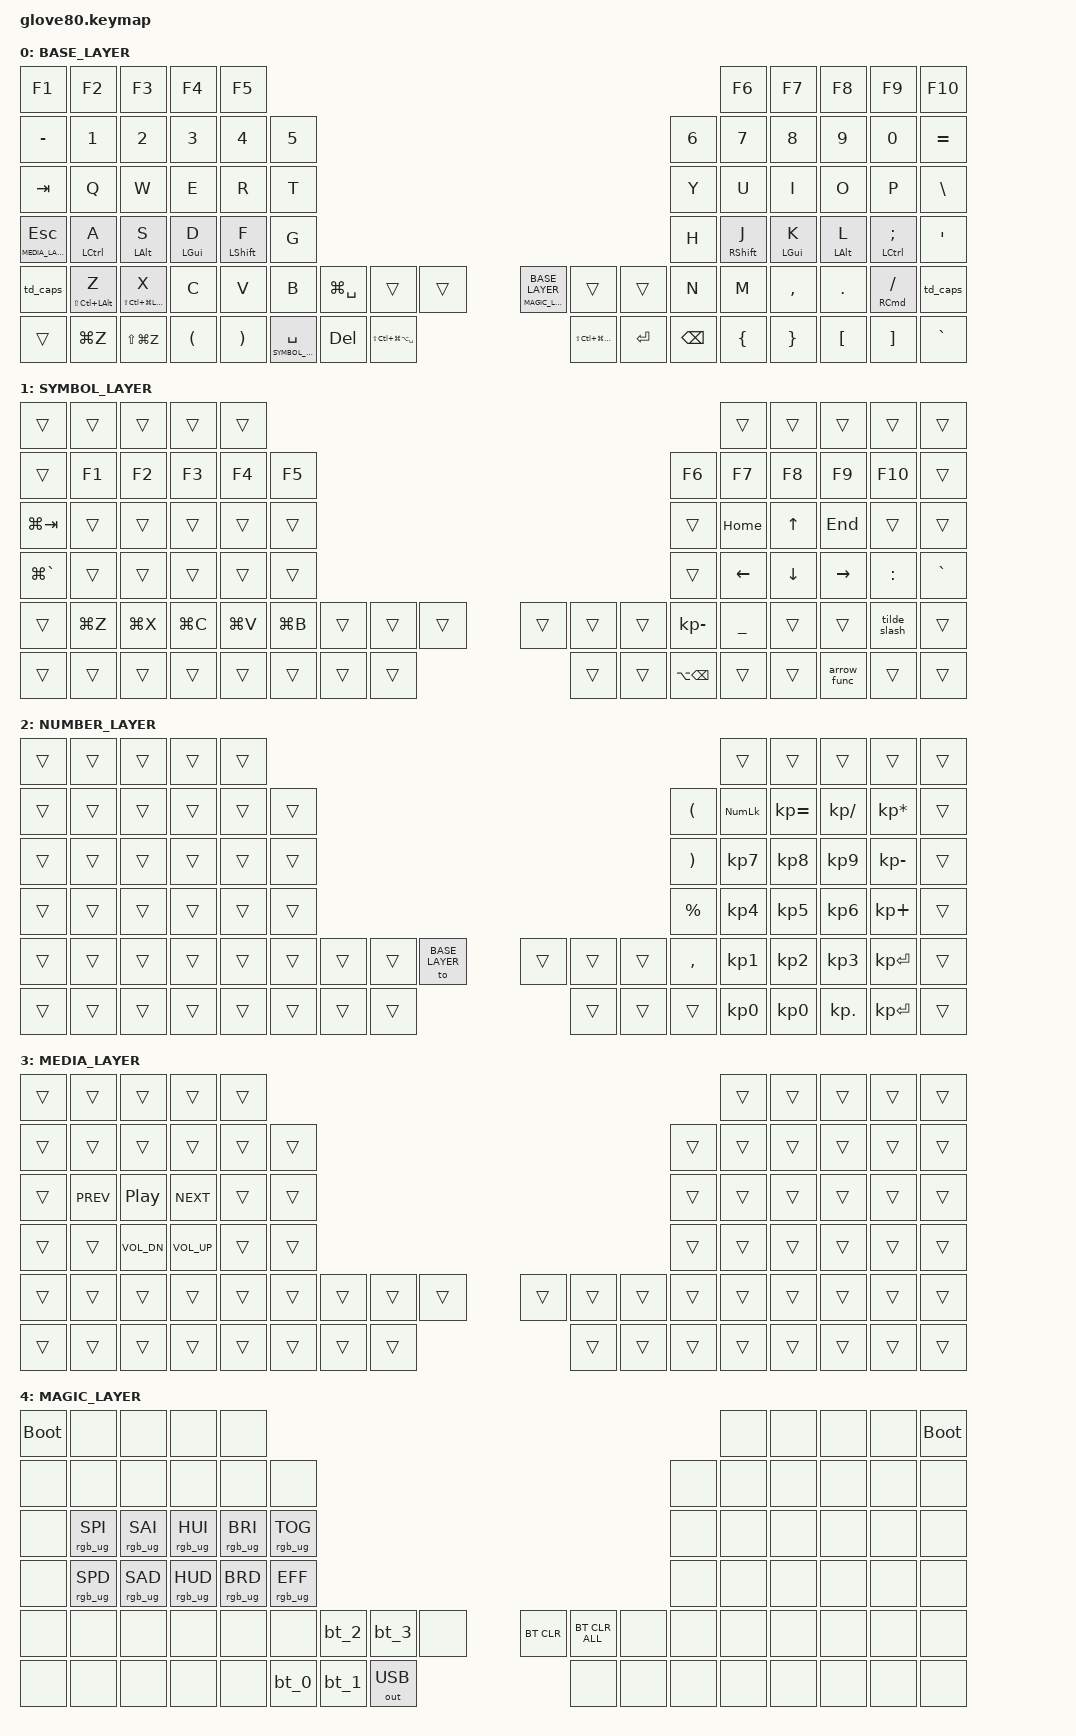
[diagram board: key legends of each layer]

// ZMK includes
#include <behaviors.dtsi>
#include <dt-bindings/zmk/outputs.h>
#include <dt-bindings/zmk/keys.h>
#include <dt-bindings/zmk/bt.h>
#include <dt-bindings/zmk/rgb.h>

// Personal includes
#include "zmk-helpers/helper.h"
#include "zmk-helpers/key-labels/glove80.h"

/* Automatically generated layer name #define */
#define BASE_LAYER 0
#define SYMBOL_LAYER 1
#define NUMBER_LAYER 2
#define MEDIA_LAYER 3
#define MAGIC_LAYER 4

/* To deal with the situation where there is no Lower layer, to keep &lower happy */
#ifndef LAYER_Lower
    #define LAYER_Lower 0
#endif

// HYPER and MEH
#define HYPER LS(LC(LG(LALT)))
#define MEH LS(LC(LALT))

// Homerow Mods
#define KEYS_L LT0 LT1 LT2 LT3 LT4 LM0 LM1 LM2 LM3 LM4 LB0 LB1 LB2 LB3 LB4  // left hand
#define KEYS_R RT0 RT1 RT2 RT3 RT4 RM0 RM1 RM2 RM3 RM4 RB0 RB1 RB2 RB3 RB4  // right hand
#define KEYS_T LH2 LH1 LH0 RH0 RH1 RH2                                      // thumbs

/*
For when you try implementing homerow mods later, dialing in the settings for them is really important. 
I've tried and given up on them before without properly setting the timing and per-key permissive hold options, but this most recent time I've messed with that and now it feels pretty natural. 
If you're accidentally triggering modifiers when typing, you need to lengthen your timing. 
If you're accidentally typing letters when you're trying to trigger commands, or if commands don't feel snappy, try permissive holds/related options on those keys, or shorten your timing, or both. 
They shouldn't affect your normal typing, and doing commands on them should feel relatively snappy once you get used to them.
*/

ZMK_HOLD_TAP(hm_l,
    flavor = "balanced";
    tapping-term-ms = <280>;
    require-prior-idle-ms = <150>;
    hold-trigger-key-positions = <KEYS_R KEYS_T>;
    hold-trigger-on-release;
    bindings = <&kp>, <&kp>;
)

ZMK_HOLD_TAP(hm_r,
    flavor = "balanced";
    tapping-term-ms = <280>;
    require-prior-idle-ms = <150>;
    hold-trigger-key-positions = <KEYS_L KEYS_T>;
    hold-trigger-on-release;
    bindings = <&kp>, <&kp>;
)

&sk {
    quick-release;
};

/* Automatically generated combos definitions */
/ {
    combos {
        compatible = "zmk,combos";
    };
};

/ {
    macros {
        rgb_ug_status_macro: rgb_ug_status_macro {
            compatible = "zmk,behavior-macro";
            label = "RGB_UG_STATUS";
            #binding-cells = <0>;
            bindings = <&rgb_ug RGB_STATUS>;
        };

        tilde_slash: tilde_slash {
            compatible = "zmk,behavior-macro";
            label = "Tilde Slash";
            #binding-cells = <0>;
            bindings = <&kp TILDE &kp SLASH>;
        };

        arrow_func: arrow_func {
            compatible = "zmk,behavior-macro";
            label = "Arrow Function";
            #binding-cells = <0>;
            bindings = <&kp LEFT_PARENTHESIS &kp RIGHT_PARENTHESIS &kp EQUAL &kp LS(PERIOD) &kp LEFT_BRACE &kp RIGHT_BRACE>;
        };
    };
};

/ {
    behaviors {
        // For the "layer" key, it'd nice to be able to use it as either a shift or a toggle.
        // Configure it as a tap dance, so the first tap (or hold) is a &mo and the second tap is a &to
        lower: lower {
            compatible = "zmk,behavior-tap-dance";
            label = "LAYER_TAP_DANCE";
            #binding-cells = <0>;
            tapping-term-ms = <200>;
            bindings = <&mo LAYER_Lower>, <&to LAYER_Lower>;
        };

        hm_l: hm_l {
            compatible = "zmk,behavior-hold-tap";
            #binding-cells = <2>;
            flavor = "balanced";
            tapping-term-ms = <280>;
            require-prior-idle-ms = <150>;
            hold-trigger-key-positions = <KEYS_R KEYS_T>;
            hold-trigger-on-release;
            bindings = <&kp>, <&kp>;
        };

        hm_r: hm_r {
            compatible = "zmk,behavior-hold-tap";
            #binding-cells = <2>;
            flavor = "balanced";
            tapping-term-ms = <280>;
            require-prior-idle-ms = <150>;
            hold-trigger-key-positions = <KEYS_L KEYS_T>;
            hold-trigger-on-release;
            bindings = <&kp>, <&kp>;
        };

        magic: magic {
            compatible = "zmk,behavior-hold-tap";
            label = "MAGIC_HOLD_TAP";
            #binding-cells = <2>;
            flavor = "tap-preferred";
            tapping-term-ms = <200>;
            bindings = <&mo>, <&rgb_ug_status_macro>;
        };

        td_caps: td_caps {
            compatible = "zmk,behavior-tap-dance";
            #binding-cells = <0>;
            tapping-term-ms = <300>;
            bindings = <&sk RSHIFT>, <&caps_word>, <&kp CAPS>;
        };

        td_left_braces: td_left_braces {
            compatible = "zmk,behavior-tap-dance";
            #binding-cells = <0>;
            tapping-term-ms = <300>;
            bindings = <&kp LPAR>, <&kp LBRC>, <&kp LBKT>;
        };

        td_right_braces: td_right_braces {
            compatible = "zmk,behavior-tap-dance";
            #binding-cells = <0>;
            tapping-term-ms = <300>;
            bindings = <&kp RPAR>, <&kp RBRC>, <&kp RBKT>;
        };
    };
};

/ {
#ifdef BT_DISC_CMD
    behaviors {
        bt_0: bt_0 {
            compatible = "zmk,behavior-tap-dance";
            label = "BT_0";
            #binding-cells = <0>;
            tapping-term-ms = <200>;
            bindings = <&bt_select_0>, <&bt BT_DISC 0>;
        };
        bt_1: bt_1 {
            compatible = "zmk,behavior-tap-dance";
            label = "BT_1";
            #binding-cells = <0>;
            tapping-term-ms = <200>;
            bindings = <&bt_select_1>, <&bt BT_DISC 1>;
        };
        bt_2: bt_2 {
            compatible = "zmk,behavior-tap-dance";
            label = "BT_2";
            #binding-cells = <0>;
            tapping-term-ms = <200>;
            bindings = <&bt_select_2>, <&bt BT_DISC 2>;
        };
        bt_3: bt_3 {
            compatible = "zmk,behavior-tap-dance";
            label = "BT_3";
            #binding-cells = <0>;
            tapping-term-ms = <200>;
            bindings = <&bt_select_3>, <&bt BT_DISC 3>;
        };
    };

    macros {
        bt_select_0: bt_select_0 {
            label = "BT_SELECT_0";
            compatible = "zmk,behavior-macro";
            #binding-cells = <0>;
            bindings = <&out OUT_BLE>, <&bt BT_SEL 0>;
        };
        bt_select_1: bt_select_1 {
            label = "BT_SELECT_1";
            compatible = "zmk,behavior-macro";
            #binding-cells = <0>;
            bindings = <&out OUT_BLE>, <&bt BT_SEL 1>;
        };
        bt_select_2: bt_select_2 {
            label = "BT_SELECT_2";
            compatible = "zmk,behavior-macro";
            #binding-cells = <0>;
            bindings = <&out OUT_BLE>, <&bt BT_SEL 2>;
        };
        bt_select_3: bt_select_3 {
            label = "BT_SELECT_3";
            compatible = "zmk,behavior-macro";
            #binding-cells = <0>;
            bindings = <&out OUT_BLE>, <&bt BT_SEL 3>;
        };
    };
    #else
    macros {
        bt_0: bt_0 {
            label = "BT_0";
            compatible = "zmk,behavior-macro";
            #binding-cells = <0>;
            bindings = <&out OUT_BLE>, <&bt BT_SEL 0>;
        };
        bt_1: bt_1 {
            label = "BT_1";
            compatible = "zmk,behavior-macro";
            #binding-cells = <0>;
            bindings = <&out OUT_BLE>, <&bt BT_SEL 1>;
        };
        bt_2: bt_2 {
            label = "BT_2";
            compatible = "zmk,behavior-macro";
            #binding-cells = <0>;
            bindings = <&out OUT_BLE>, <&bt BT_SEL 2>;
        };
        bt_3: bt_3 {
            label = "BT_3";
            compatible = "zmk,behavior-macro";
            #binding-cells = <0>;
            bindings = <&out OUT_BLE>, <&bt BT_SEL 3>;
        };
    };
#endif
};

/* Automatically generated keymap */
/ {
    keymap {
        compatible = "zmk,keymap";

        BASE_LAYER {
            bindings = <
        &kp F1      &kp F2          &kp F3         &kp F4               &kp F5                                                                                                                               &kp F6          &kp F7                   &kp F8         &kp F9             &kp F10
        &kp MINUS   &kp N1          &kp N2         &kp N3               &kp N4          &kp N5                                                                                                      &kp N6   &kp N7          &kp N8                   &kp N9         &kp N0             &kp EQUAL
        &kp TAB     &kp Q           &kp W          &kp E                &kp R           &kp T                                                                                                       &kp Y    &kp U           &kp I                    &kp O          &kp P              &kp BSLH
        &lt MEDIA_LAYER ESC      &hm_l LCTRL A   &hm_l LALT S   &hm_l LGUI D         &hm_l LSHFT F   &kp G                                                                                                       &kp H    &hm_r RSHFT J   &hm_r LGUI K             &hm_r LALT L   &hm_r LCTRL SEMI   &kp SQT
        &td_caps    &hm_l MEH Z       &hm_l HYPER X         &kp C                &kp V           &kp B    &kp LG(SPACE)               &trans     &trans   &magic MAGIC_LAYER BASE_LAYER   &trans    &trans   &kp N    &kp M           &kp COMMA   &kp DOT        &hm_r RCMD FSLH           &td_caps
        &trans     &kp LG(Z)       &kp LS(LG(Z))      &kp LPAR       &kp RPAR                    &lt SYMBOL_LAYER SPACE   &kp DEL   &kp LS(LC(LG(LA(SPACE))))   &kp LS(LC(LG(LA(ENTER))))                      &kp ENTER   &kp BSPC              &kp LEFT_BRACE        &kp RIGHT_BRACE        &kp LEFT_BRACKET        &kp RIGHT_BRACKET             &kp GRAVE
            >;
        };

        SYMBOL_LAYER {
            bindings = <
        &trans   &trans     &trans   &trans   &trans                                                                                   &trans      &trans     &trans      &trans     &trans
        &trans   &kp F1     &kp F2   &kp F3   &kp F4   &kp F5                                                           &kp F6         &kp F7      &kp F8     &kp F9      &kp F10    &trans
        &kp LG(TAB)   &trans   &trans   &trans   &trans   &trans                                                         &trans       &kp HOME    &kp UP     &kp END     &trans   &trans
        &kp LG(GRAVE)   &trans   &trans   &trans   &trans   &trans                                                          &trans       &kp LEFT    &kp DOWN   &kp RIGHT   &kp COLON   &kp GRAVE
        &trans   &kp LG(Z)   &kp LG(X)   &kp LG(C)   &kp LG(V)   &kp LG(B)   &trans   &trans   &trans   &trans     &trans   &trans  &kp KP_MINUS   &kp UNDER     &trans  &trans      &tilde_slash   &trans
        &trans   &trans     &trans   &trans   &trans            &trans   &trans   &trans   &trans   &trans   &kp LA(BSPC)                   &trans      &trans     &arrow_func      &trans     &trans
            >;
        };

        NUMBER_LAYER {
            bindings = <
        &trans   &trans   &trans   &trans   &trans                                                                                          &trans       &trans         &trans         &trans            &trans
        &trans   &trans   &trans   &trans   &trans   &trans                                                         &kp LEFT_PARENTHESIS    &kp KP_NUM   &kp KP_EQUAL   &kp KP_SLASH   &kp KP_MULTIPLY   &trans
        &trans   &trans   &trans   &trans   &trans   &trans                                                         &kp RIGHT_PARENTHESIS   &kp KP_N7    &kp KP_N8      &kp KP_N9      &kp KP_MINUS      &trans
        &trans   &trans   &trans   &trans   &trans   &trans                                                         &kp PERCENT             &kp KP_N4    &kp KP_N5      &kp KP_N6      &kp KP_PLUS       &trans
        &trans   &trans   &trans   &trans   &trans   &trans   &trans   &trans   &to BASE_LAYER    &trans   &trans   &trans   &kp COMMA               &kp KP_N1    &kp KP_N2      &kp KP_N3      &kp KP_ENTER      &trans
        &trans   &trans   &trans   &trans   &trans            &trans   &trans   &trans   &trans   &trans   &trans                           &kp KP_N0    &kp KP_N0      &kp KP_DOT     &kp KP_ENTER      &trans
            >;
        };

        MEDIA_LAYER {
            bindings = <
        &trans   &trans   &trans       &trans         &trans                                                                                 &trans   &trans   &trans   &trans   &trans
        &trans   &trans   &trans       &trans         &trans         &trans                                                         &trans   &trans   &trans   &trans   &trans   &trans
        &trans   &kp C_PREV   &kp C_PLAY_PAUSE &kp C_NEXT    &trans  &trans                                                       &trans   &trans   &trans   &trans   &trans   &trans
        &trans   &trans   &kp K_VOL_DN &kp K_VOL_UP   &trans     &trans                                                         &trans   &trans   &trans   &trans   &trans   &trans
        &trans   &trans   &trans       &trans         &trans         &trans   &trans   &trans   &trans   &trans   &trans   &trans   &trans   &trans   &trans   &trans   &trans   &trans
        &trans   &trans   &trans       &trans         &trans                  &trans   &trans   &trans   &trans   &trans   &trans            &trans   &trans   &trans   &trans   &trans
            >;
        };

        MAGIC_LAYER {
            bindings = <
        &bootloader   &none             &none             &none             &none                                                                                                            &none   &none   &none   &none   &bootloader
        &none         &none             &none             &none             &none             &none                                                                                  &none   &none   &none   &none   &none   &none
        &none         &rgb_ug RGB_SPI   &rgb_ug RGB_SAI   &rgb_ug RGB_HUI   &rgb_ug RGB_BRI   &rgb_ug RGB_TOG                                                                        &none   &none   &none   &none   &none   &none
        &none         &rgb_ug RGB_SPD   &rgb_ug RGB_SAD   &rgb_ug RGB_HUD   &rgb_ug RGB_BRD   &rgb_ug RGB_EFF                                                                        &none   &none   &none   &none   &none   &none
        &none         &none             &none             &none             &none             &none             &bt_2   &bt_3   &none          &bt BT_CLR   &bt BT_CLR_ALL   &none   &none   &none   &none   &none   &none   &none
        &none         &none             &none             &none             &none                               &bt_0   &bt_1   &out OUT_USB   &none        &none            &none           &none   &none   &none   &none   &none
            >;
        };
    };
};
